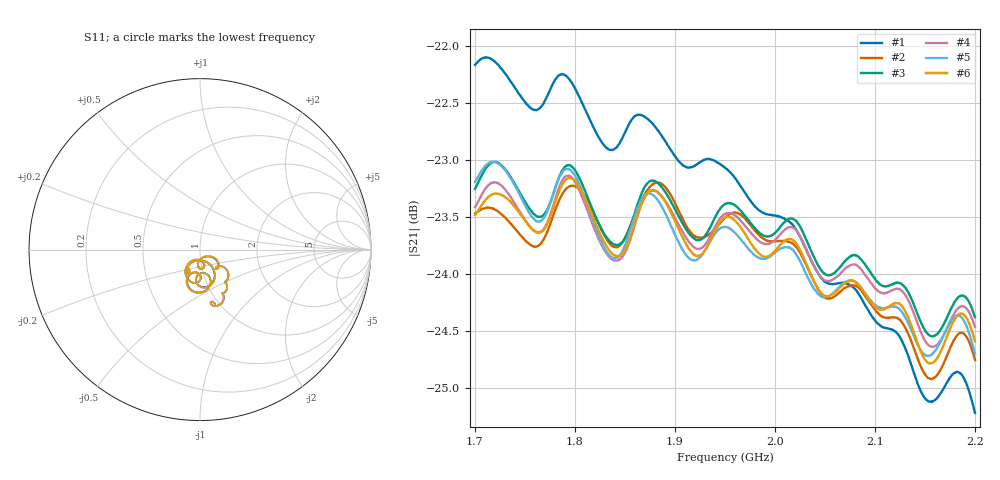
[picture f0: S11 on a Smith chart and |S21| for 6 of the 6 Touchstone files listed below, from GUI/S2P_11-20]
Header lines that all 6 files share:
# Hz S RI R 50
! CMT, CMT808U, 21440046, 21.4.3/4
! Data: Format (Calibration Info)
! Freq	S11:Re/Im(F2)	S41:Re/Im(F2)	S14:Re/Im(F2)	S44:Re/Im(F2)
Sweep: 1.7 GHz to 2.2 GHz
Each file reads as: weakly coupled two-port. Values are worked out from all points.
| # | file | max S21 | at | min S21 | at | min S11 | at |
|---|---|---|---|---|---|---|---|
| 1 | Port1.s2p | -22.10 dB | 1.711 GHz | -25.2 dB | 2.2 GHz | -26.2 dB | 1.972 GHz |
| 2 | Port4.s2p | -23.20 dB | 1.883 GHz | -24.9 dB | 2.156 GHz | -26.1 dB | 1.972 GHz |
| 3 | Port6.s2p | -23.02 dB | 1.72 GHz | -24.5 dB | 2.158 GHz | -26.2 dB | 1.972 GHz |
| 4 | Port7.s2p | -23.14 dB | 1.794 GHz | -24.6 dB | 2.158 GHz | -26.2 dB | 1.972 GHz |
| 5 | Port13.s2p | -23.02 dB | 1.718 GHz | -24.7 dB | 2.153 GHz | -26.5 dB | 1.972 GHz |
| 6 | Port14.s2p | -23.16 dB | 1.794 GHz | -24.8 dB | 2.155 GHz | -26.5 dB | 1.972 GHz |
